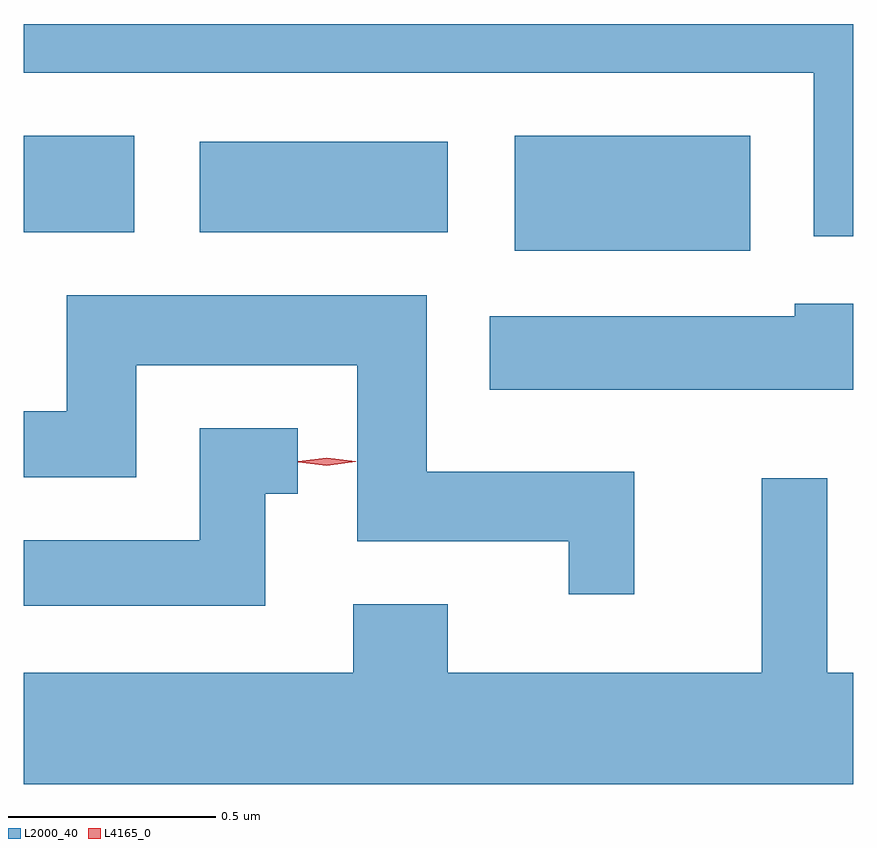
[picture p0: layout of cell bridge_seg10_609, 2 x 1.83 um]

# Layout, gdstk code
import gdstk
lib = gdstk.Library(unit=1e-6, precision=1e-09)
def R(c, l, rs):  # rectangles x0, y0, x1, y1
    for r in rs: c.add(gdstk.rectangle(r[:2], r[2:], *l))
def P(c, l, *ps):  # polygons
    for p in ps: c.add(gdstk.Polygon(p, *l))
L2000_40 = (2000, 40)
L4165_0 = (4165, 0)

bridge_seg10_609 = lib.new_cell('bridge_seg10_609')
R(bridge_seg10_609, L2000_40, [(648.601,2168.481,649.169,2168.759), (647.417,2168.526,647.684,2168.759), (647.841,2168.526,648.439,2168.744)])
P(bridge_seg10_609, L2000_40, [(649.417,2169.028),(647.417,2169.028),(647.417,2168.911),(649.321,2168.911),(649.321,2168.516),(649.417,2168.516)],
  [(648.889,2167.949),(648.389,2167.949),(648.389,2168.374),(647.521,2168.374),(647.521,2168.094),(647.417,2168.094),(647.417,2167.936),(647.689,2167.936),(647.689,2168.206),(648.221,2168.206),(648.221,2167.781),(648.731,2167.781),(648.731,2167.653),(648.889,2167.653)],
  [(649.417,2168.354),(649.276,2168.354),(649.276,2168.324),(648.541,2168.324),(648.541,2168.146),(649.417,2168.146)],
  [(647.999,2167.896),(648.078,2167.896),(648.078,2168.054),(647.841,2168.054),(647.841,2167.784),(647.417,2167.784),(647.417,2167.626),(647.999,2167.626)],
  [(649.417,2167.464),(649.354,2167.464),(649.354,2167.933),(649.196,2167.933),(649.196,2167.464),(648.439,2167.464),(648.439,2167.629),(648.211,2167.629),(648.211,2167.464),(647.417,2167.464),(647.417,2167.196),(649.417,2167.196)])
P(bridge_seg10_609, L4165_0, [(648.148,2167.963),(648.079,2167.972),(648.079,2167.973),(648.079,2167.974),(648.148,2167.983),(648.218,2167.974),(648.218,2167.974),(648.218,2167.973)])

lib.write_gds('bridge_seg10_609.gds')
